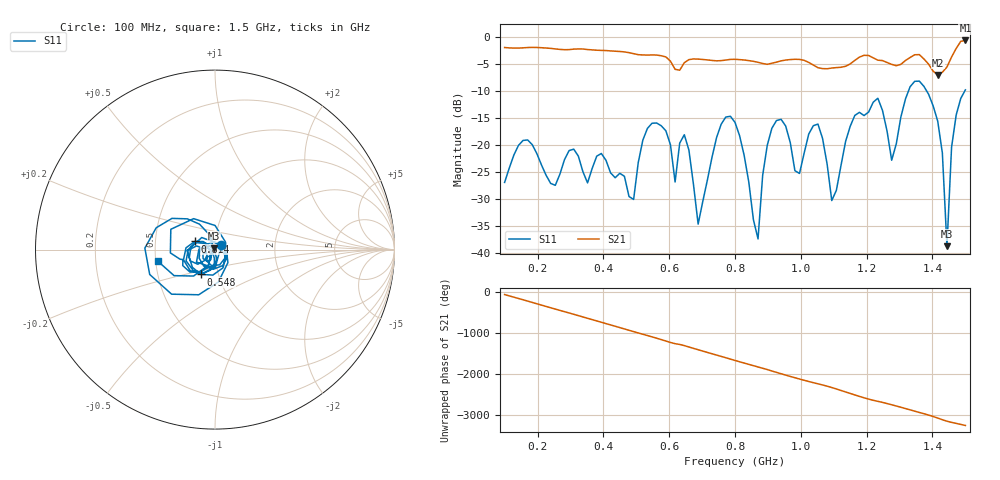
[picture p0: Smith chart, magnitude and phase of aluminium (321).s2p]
! NanoVNA-App
! Date: 2025-09-25 14:57:47
! Start: 100MHz Stop: 1,5GHz Points: 101
! S-Parameter data: F S11 S21 S12 S22
# Hz S RI R 50
!  Frequency  S11_Real  S11_Imag  S21_Real  S21_Imag  S12_Real  S12_Imag  S22_Real  S22_Imag
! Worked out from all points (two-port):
!   101 points, 100 MHz to 1.5 GHz, reference 50 ohm
!   highest |S21| = -0.61 dB at 1.5 GHz (marker M1); lowest = -7.0 dB at 1.416 GHz (marker M2)
!   |S21| within 3 dB of the highest: start of sweep to 586.3 MHz; 1.459 GHz to end of sweep (the widest 2 of 4)
!   lowest |S11| = -38.8 dB at 1.444 GHz (marker M3), VSWR 1.02, Z = 49.2 + j0.804 ohm
!   |S11| at or under -10 dB: start of sweep to 1.327 GHz; 1.382 GHz to 1.498 GHz (115.6 MHz wide, 8.03 % of centre)
!   S12 and S22 are empty: the file has one direction only
!   S11 on the Smith chart (normalised r, x): 100 MHz: 1.07, +0.06; 548 MHz: 0.82, -0.23; 814 MHz: 0.79, +0.07; 1.5 GHz: 0.51, -0.08
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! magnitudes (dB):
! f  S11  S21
! 100 MHz  -27.0  -1.9
! 338 MHz  -25.0  -2.2
! 492 MHz  -30.1  -3.1
! 548 MHz  -16.0  -3.3
! 576 MHz  -16.5  -3.4
! 618 MHz  -26.9  -6.0
! 646 MHz  -18.1  -4.7
! 688 MHz  -34.7  -4.1
! 800 MHz  -15.8  -4.1
! 814 MHz  -18.3  -4.2
! 870 MHz  -37.4  -4.7
! 912 MHz  -16.9  -4.8
! 996 MHz  -25.3  -4.1
! 1.038 GHz  -16.4  -5.2
! 1.094 GHz  -30.3  -5.7
! 1.234 GHz  -11.3  -4.3
! 1.276 GHz  -22.8  -5.0
! 1.346 GHz  -8.2  -3.3
! 1.416 GHz  -15.6  -7.0
! 1.444 GHz  -38.8  -5.5
! 1.458 GHz  -20.4  -3.7
! 1.5 GHz  -9.8  -0.6
